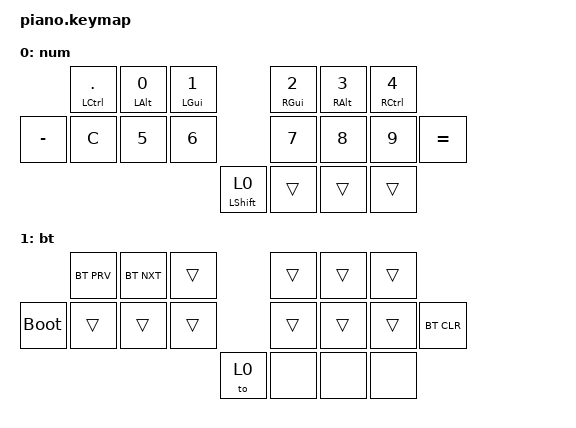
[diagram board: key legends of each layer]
/*
 * Copyright (c) 2020 The ZMK Contributors
 *
 * SPDX-License-Identifier: MIT
 */

#include <behaviors.dtsi>
#include <dt-bindings/zmk/bt.h>
#include <dt-bindings/zmk/keys.h>

&mt {
    tapping-term-ms = <201>;
    flavor = "tap-preferred";
};

&sk {
    release-after-ms = <2000>;
    quick-release;
};

/* Layers */

#define AL1 0
#define AL2 1
#define SM1 2
#define SM2 3
#define NM1 4
#define SYS 5
#define BT 6
#define AL2U 7

/ {
    combos {
        compatible = "zmk,combos";

        combo_sys {
            timeout-ms = <30>;
            key-positions = <3 4 5>;
            bindings = <&to 0>;
        };

        combo_caps {
            timeout-ms = <30>;
            key-positions = <10 11 12>;
            bindings = <&caps_word>;
        };

        combo_bt {
            timeout-ms = <10>;
            key-positions = <11 12>;
            bindings = <&to 1>;
        };
    };

    behaviors {
        hm_l: homerow_mods_left {
            compatible = "zmk,behavior-hold-tap";
            label = "HOMEROW_MODS_L";
            #binding-cells = <2>;
            tapping-term-ms = <300>;
            quick-tap-ms = <250>;
            flavor = "tap-preferred";
            bindings = <&kp>, <&kp>;
        };

        hm_r: homerow_mods_right {
            compatible = "zmk,behavior-hold-tap";
            label = "HOMEROW_MODS_R";
            #binding-cells = <2>;
            tapping-term-ms = <300>;
            quick-tap-ms = <250>;
            flavor = "tap-preferred";
            bindings = <&kp>, <&kp>;
        };

        sr: shift_layer {
            compatible = "zmk,behavior-hold-tap";
            label = "SHIFT_LAYER";
            #binding-cells = <2>;
            tapping-term-ms = <300>;
            quick_tap_ms = <0>;
            flavor = "tap-preferred";
            bindings = <&kp>, <&to>;

            retro-tap;
        };

        hl_l: homerow_layers_left {
            compatible = "zmk,behavior-hold-tap";
            label = "HOMEROW_LAYERS_L";
            #binding-cells = <2>;
            tapping-term-ms = <220>;
            quick-tap-ms = <250>;
            flavor = "tap-preferred";
            bindings = <&mo>, <&kp>;
        };

        hl_r: homerow_layers_right {
            compatible = "zmk,behavior-hold-tap";
            label = "HOMEROW_LAYERS_R";
            #binding-cells = <2>;
            tapping-term-ms = <220>;
            quick-tap-ms = <250>;
            flavor = "tap-preferred";
            bindings = <&mo>, <&kp>;
        };

        td: tapdance {
            compatible = "zmk,behavior-hold-tap";
            label = "TAPDANCE";
            #binding-cells = <2>;
            tapping-term-ms = <190>;
            quick-tap-ms = <250>;
            flavor = "tap-preferred";
            bindings = <&kp>, <&kp>;
        };

        alpha2macro: behavior_macro_1 {
            compatible = "zmk,behavior-macro";
            label = "MACRO1";
            #binding-cells = <0>;
            bindings = <&sl 0>;
        };

        caps_alpha2macro: behavior_macro_2 {
            compatible = "zmk,behavior-macro";
            label = "MACRO2";
            #binding-cells = <0>;
            bindings = <&sl 0>;
        };
    };

    // 				0		1		2					3		4			5
    // 		6		7		8		9 					10		11			12 		13
    //								14	15 	16 	17		

    macros {
    };

    keymap {
        compatible = "zmk,keymap";

        num {
            bindings = <
           &hm_l LCTL DOT  &hm_l LALT N0  &hm_l LGUI N1                &hm_r RGUI N2  &hm_r RALT N3  &hm_r RCTL N4
&kp MINUS  &kp C           &kp N5         &kp N6                       &kp N7         &kp N8         &kp N9         &kp EQUAL
                                                         &sr LSHIFT 0  &trans         &trans         &trans
            >;
        };

        bt {
            bindings = <
             &bt BT_PRV  &bt BT_NXT  &trans         &trans  &trans  &trans
&bootloader  &trans      &trans      &trans         &trans  &trans  &trans  &bt BT_CLR
                                             &to 0  &none   &none   &none
            >;
        };
    };
};
